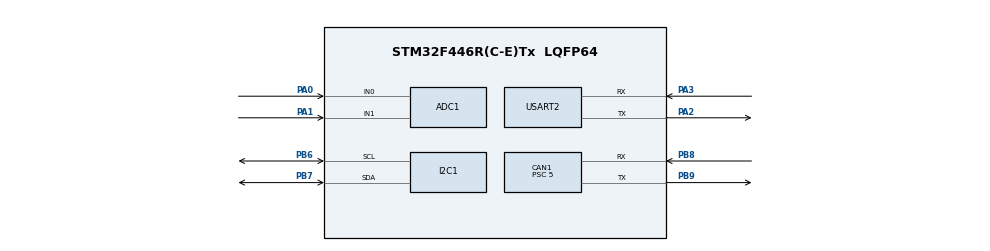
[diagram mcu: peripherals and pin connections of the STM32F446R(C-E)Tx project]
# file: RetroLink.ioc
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ADC1.Channel-0\#ChannelRegularConversion=ADC_CHANNEL_0
ADC1.NbrOfConversionFlag=1
ADC1.Rank-0\#ChannelRegularConversion=1
ADC1.SamplingTime-0\#ChannelRegularConversion=ADC_SAMPLETIME_3CYCLES
ADC1.master=1
CAN1.BS1=CAN_BS1_15TQ
CAN1.BS2=CAN_BS2_2TQ
CAN1.CalculateBaudRate=177777
CAN1.CalculateTimeBit=5625
CAN1.CalculateTimeQuantum=312.5
CAN1.Mode=CAN_MODE_LOOPBACK
CAN1.Prescaler=5
FREERTOS.Tasks01=sensorTask,32,128,StartSensorTask,Default,NULL,Dynamic,NULL,NULL;canTask,24,128,StartCanTask,Default,NULL,Dynamic,NULL,NULL;displayTask,16,128,StartDisplayTask,Default,NULL,Dynamic,NULL,NULL
Mcu.Family=STM32F4
Mcu.Name=STM32F446R(C-E)Tx
Mcu.Package=LQFP64
NVIC.CAN1_RX0_IRQn=true\:5\:0\:false\:false\:true\:true\:true\:true\:true
NVIC.PriorityGroup=NVIC_PRIORITYGROUP_4
PA0-WKUP.Signal=ADCx_IN0
PA1.Signal=ADCx_IN1
PA2.Mode=Asynchronous
PA2.Signal=USART2_TX
PA3.Mode=Asynchronous
PA3.Signal=USART2_RX
PB6.Mode=I2C
PB6.Signal=I2C1_SCL
PB7.Mode=I2C
PB7.Signal=I2C1_SDA
PB8.Mode=CAN_Activate
PB8.Signal=CAN1_RX
PB9.Mode=CAN_Activate
PB9.Signal=CAN1_TX
ProjectManager.HeapSize=0x200
ProjectManager.StackSize=0x400
ProjectManager.TargetToolchain=STM32CubeIDE
RCC.CortexFreq_Value=16000000
RCC.USBFreq_Value=96000000
RCC.VCOOutputFreq_Value=192000000
SH.ADCx_IN0.0=ADC1_IN0,IN0
SH.ADCx_IN1.0=ADC1_IN1,IN1
USART2.VirtualMode=VM_ASYNC
VP_FREERTOS_VS_CMSIS_V2.Mode=CMSIS_V2
board=custom

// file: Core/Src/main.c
/* USER CODE BEGIN Header */
/**
  ******************************************************************************
  * @file           : main.c
  * @brief          : Main program body
  ******************************************************************************
  * @attention
  *
  * Copyright (c) 2026 STMicroelectronics.
  * All rights reserved.
  *
  * This software is licensed under terms that can be found in the LICENSE file
  * in the root directory of this software component.
  * If no LICENSE file comes with this software, it is provided AS-IS.
  *
  ******************************************************************************
  */
/* USER CODE END Header */
#include "main.h"
#include "cmsis_os.h"

/* USER CODE BEGIN Includes */

#include <stdio.h>
#include <string.h>
#include "ssd1306.h"

/* USER CODE END Includes */

/* USER CODE BEGIN PD */

/*--- Voltage divider scaling (ADC mV → sensor-side mV) ---
 * Your signal conditioning circuit divides 5V sensor range down to
 * 3.3V ADC-safe range. To recover the original sensor voltage:
 *   sensor_mv = adc_mv * VDIV_NUM / VDIV_DEN
 *
 * Bench testing (pot wired direct to PA0/PA1): 1/1 = no scaling.
 * Vehicle (through 5V→3.3V divider):          50/33 ≈ 1.515x.
 */
#define VDIV_NUM  1
#define VDIV_DEN  1

/* TPS calibration points (sensor-side millivolts).
 * FSM spec: VTA = 0.1–1.0V closed, ~3.5V WOT.
 * For bench testing, set these to your pot's actual range.
 * For vehicle use, restore to 500 / 3500. */
#define TPS_MV_CLOSED      0
#define TPS_MV_WOT      2250

/* USER CODE END PD */

ADC_HandleTypeDef hadc1;

CAN_HandleTypeDef hcan1;

I2C_HandleTypeDef hi2c1;

UART_HandleTypeDef huart2;

/* Definitions for sensorTask */
osThreadId_t sensorTaskHandle;
const osThreadAttr_t sensorTask_attributes = {
  .name = "sensorTask",
  .stack_size = 128 * 4,
  .priority = (osPriority_t) osPriorityAboveNormal,
};
/* Definitions for canTask */
osThreadId_t canTaskHandle;
const osThreadAttr_t canTask_attributes = {
  .name = "canTask",
  .stack_size = 128 * 4,
  .priority = (osPriority_t) osPriorityNormal,
};
/* Definitions for displayTask */
osThreadId_t displayTaskHandle;
const osThreadAttr_t displayTask_attributes = {
  .name = "displayTask",
  .stack_size = 256 * 4,
  .priority = (osPriority_t) osPriorityBelowNormal,
};
/* USER CODE BEGIN PV */

volatile uint16_t adc_raw[2];		// Raw 12-bit ADC readings (0-4095)
volatile float sensor_voltage[2];	// Converted voltage (0-3.3V)

/* USER CODE END PV */

void SystemClock_Config(void);
static void MX_GPIO_Init(void);
static void MX_ADC1_Init(void);
static void MX_CAN1_Init(void);
static void MX_I2C1_Init(void);
static void MX_USART2_UART_Init(void);
void StartSensorTask(void *argument);
void StartCanTask(void *argument);
void StartDisplayTask(void *argument);

/* USER CODE BEGIN PFP */
static int16_t clt_voltage_to_celsius(int sensor_mv);
static int     tps_voltage_to_percent(int sensor_mv);
/* USER CODE END PFP */

/* USER CODE BEGIN 0 */

/*--- CLT lookup table: sensor-side millivolts → temperature °C ---
 * Data from 3VZ-E NTC thermistor specs (89422-20010) with ~2.2kΩ
 * pull-up to 5V reference. Voltage DECREASES as temp rises because
 * NTC resistance drops, pulling the divider output lower.
 *
 * The table is sorted by decreasing voltage (= increasing temp).
 * clt_voltage_to_celsius() walks the table and linearly interpolates
 * between the two nearest points.
 */
typedef struct {
    int16_t  temp_c;  /* temperature in °C */
    uint16_t mv;      /* sensor-side voltage in millivolts */
} CLT_Point;

static const CLT_Point clt_table[] = {
    { -20, 4400 },
    {   0, 3600 },
    {  20, 2700 },
    {  40, 1700 },
    {  60, 1000 },
    {  80,  600 },
    { 100,  500 },
    { 120,  300 },
};
#define CLT_TABLE_SIZE  (sizeof(clt_table) / sizeof(clt_table[0]))

/**
 * @brief  Convert sensor-side millivolts to coolant temperature in °C.
 *         Uses piecewise linear interpolation between table points.
 * @param  sensor_mv  Voltage at the CLT sensor pin (millivolts)
 * @retval Temperature in °C (clamped to table range: -20 to 120)
 */
static int16_t clt_voltage_to_celsius(int sensor_mv)
{
    /* Clamp to table endpoints */
    if (sensor_mv >= (int)clt_table[0].mv)
        return clt_table[0].temp_c;                       /* very cold */
    if (sensor_mv <= (int)clt_table[CLT_TABLE_SIZE - 1].mv)
        return clt_table[CLT_TABLE_SIZE - 1].temp_c;      /* very hot  */

    /* Walk the table — voltage decreases as index increases */
    for (int i = 0; i < (int)CLT_TABLE_SIZE - 1; i++) {
        if (sensor_mv <= (int)clt_table[i].mv &&
            sensor_mv >= (int)clt_table[i + 1].mv)
        {
            /* Linear interpolation:
             *   fraction = (upper_mv - sensor_mv) / (upper_mv - lower_mv)
             *   temp = upper_temp + fraction * (lower_temp - upper_temp)
             *
             * All integer math — multiply before divide to keep precision. */
            int dv = clt_table[i].mv - clt_table[i + 1].mv;     /* positive */
            int dt = clt_table[i + 1].temp_c - clt_table[i].temp_c; /* positive */
            int offset = clt_table[i].mv - sensor_mv;
            return clt_table[i].temp_c + (int16_t)((offset * dt) / dv);
        }
    }
    return -99; /* should never reach here */
}

/**
 * @brief  Convert sensor-side millivolts to throttle position 0–100%.
 *         Simple linear interpolation between closed and WOT voltages.
 * @param  sensor_mv  Voltage at the TPS VTA pin (millivolts)
 * @retval Throttle position percentage, clamped to 0–100
 */
static int tps_voltage_to_percent(int sensor_mv)
{
    if (sensor_mv <= TPS_MV_CLOSED) return 0;
    if (sensor_mv >= TPS_MV_WOT)   return 100;
    return ((sensor_mv - TPS_MV_CLOSED) * 100) / (TPS_MV_WOT - TPS_MV_CLOSED);
}

/* USER CODE END 0 */

int main(void)
{

  /* MCU Configuration--------------------------------------------------------*/

  /* Reset of all peripherals, Initializes the Flash interface and the Systick. */
  HAL_Init();

  /* Configure the system clock */
  SystemClock_Config();

  /* Initialize all configured peripherals */
  MX_GPIO_Init();
  MX_ADC1_Init();
  MX_CAN1_Init();
  MX_I2C1_Init();
  MX_USART2_UART_Init();
  /* USER CODE BEGIN 2 */

  // Pull-up on CAN_RX (PB8) so the peripheral sees recessive (high)
  // during the init-to-normal transition
  GPIO_InitTypeDef canrx_fix = {0};
  canrx_fix.Pin = GPIO_PIN_8;
  canrx_fix.Mode = GPIO_MODE_AF_PP;
  canrx_fix.Pull = GPIO_PULLUP;
  canrx_fix.Speed = GPIO_SPEED_FREQ_VERY_HIGH;
  canrx_fix.Alternate = GPIO_AF9_CAN1;
  HAL_GPIO_Init(GPIOB, &canrx_fix);

  CAN_FilterTypeDef filter;
  filter.FilterBank = 0;
  filter.FilterMode = CAN_FILTERMODE_IDMASK;
  filter.FilterScale = CAN_FILTERSCALE_32BIT;
  filter.FilterIdHigh = 0x0000;
  filter.FilterIdLow = 0x0000;
  filter.FilterMaskIdHigh = 0x0000;
  filter.FilterMaskIdLow = 0x0000;
  filter.FilterFIFOAssignment = CAN_RX_FIFO0;
  filter.FilterActivation = ENABLE;
  HAL_CAN_ConfigFilter(&hcan1, &filter);

  HAL_CAN_Start(&hcan1);
  HAL_CAN_ActivateNotification(&hcan1, CAN_IT_RX_FIFO0_MSG_PENDING);

  /* USER CODE END 2 */

  /* Init scheduler */
  osKernelInitialize();

  /* Create the thread(s) */
  /* creation of sensorTask */
  sensorTaskHandle = osThreadNew(StartSensorTask, NULL, &sensorTask_attributes);

  /* creation of canTask */
  canTaskHandle = osThreadNew(StartCanTask, NULL, &canTask_attributes);

  /* creation of displayTask */
  displayTaskHandle = osThreadNew(StartDisplayTask, NULL, &displayTask_attributes);

  /* Start scheduler */
  osKernelStart();

  /* We should never get here as control is now taken by the scheduler */

  /* Infinite loop */
  while (1)
  {

  }
}

void SystemClock_Config(void)
{
  RCC_OscInitTypeDef RCC_OscInitStruct = {0};
  RCC_ClkInitTypeDef RCC_ClkInitStruct = {0};

  /** Configure the main internal regulator output voltage
  */
  __HAL_RCC_PWR_CLK_ENABLE();
  __HAL_PWR_VOLTAGESCALING_CONFIG(PWR_REGULATOR_VOLTAGE_SCALE3);

  /** Initializes the RCC Oscillators according to the specified parameters
  * in the RCC_OscInitTypeDef structure.
  */
  RCC_OscInitStruct.OscillatorType = RCC_OSCILLATORTYPE_HSI;
  RCC_OscInitStruct.HSIState = RCC_HSI_ON;
  RCC_OscInitStruct.HSICalibrationValue = RCC_HSICALIBRATION_DEFAULT;
  RCC_OscInitStruct.PLL.PLLState = RCC_PLL_NONE;
  if (HAL_RCC_OscConfig(&RCC_OscInitStruct) != HAL_OK)
  {
    Error_Handler();
  }

  /** Initializes the CPU, AHB and APB buses clocks
  */
  RCC_ClkInitStruct.ClockType = RCC_CLOCKTYPE_HCLK|RCC_CLOCKTYPE_SYSCLK
                              |RCC_CLOCKTYPE_PCLK1|RCC_CLOCKTYPE_PCLK2;
  RCC_ClkInitStruct.SYSCLKSource = RCC_SYSCLKSOURCE_HSI;
  RCC_ClkInitStruct.AHBCLKDivider = RCC_SYSCLK_DIV1;
  RCC_ClkInitStruct.APB1CLKDivider = RCC_HCLK_DIV1;
  RCC_ClkInitStruct.APB2CLKDivider = RCC_HCLK_DIV1;

  if (HAL_RCC_ClockConfig(&RCC_ClkInitStruct, FLASH_LATENCY_0) != HAL_OK)
  {
    Error_Handler();
  }
}

static void MX_ADC1_Init(void)
{

  ADC_ChannelConfTypeDef sConfig = {0};

  /** Configure the global features of the ADC (Clock, Resolution, Data Alignment and number of conversion)
  */
  hadc1.Instance = ADC1;
  hadc1.Init.ClockPrescaler = ADC_CLOCK_SYNC_PCLK_DIV2;
  hadc1.Init.Resolution = ADC_RESOLUTION_12B;
  hadc1.Init.ScanConvMode = DISABLE;
  hadc1.Init.ContinuousConvMode = DISABLE;
  hadc1.Init.DiscontinuousConvMode = DISABLE;
  hadc1.Init.ExternalTrigConvEdge = ADC_EXTERNALTRIGCONVEDGE_NONE;
  hadc1.Init.ExternalTrigConv = ADC_SOFTWARE_START;
  hadc1.Init.DataAlign = ADC_DATAALIGN_RIGHT;
  hadc1.Init.NbrOfConversion = 1;
  hadc1.Init.DMAContinuousRequests = DISABLE;
  hadc1.Init.EOCSelection = ADC_EOC_SINGLE_CONV;
  if (HAL_ADC_Init(&hadc1) != HAL_OK)
  {
    Error_Handler();
  }

  /** Configure for the selected ADC regular channel its corresponding rank in the sequencer and its sample time.
  */
  sConfig.Channel = ADC_CHANNEL_0;
  sConfig.Rank = 1;
  sConfig.SamplingTime = ADC_SAMPLETIME_3CYCLES;
  if (HAL_ADC_ConfigChannel(&hadc1, &sConfig) != HAL_OK)
  {
    Error_Handler();
  }

}

static void MX_CAN1_Init(void)
{

  hcan1.Instance = CAN1;
  hcan1.Init.Prescaler = 2;
  hcan1.Init.Mode = CAN_MODE_NORMAL;
  hcan1.Init.SyncJumpWidth = CAN_SJW_1TQ;
  hcan1.Init.TimeSeg1 = CAN_BS1_13TQ;
  hcan1.Init.TimeSeg2 = CAN_BS2_2TQ;
  hcan1.Init.TimeTriggeredMode = DISABLE;
  hcan1.Init.AutoBusOff = DISABLE;
  hcan1.Init.AutoWakeUp = DISABLE;
  hcan1.Init.AutoRetransmission = DISABLE;
  hcan1.Init.ReceiveFifoLocked = DISABLE;
  hcan1.Init.TransmitFifoPriority = DISABLE;
  if (HAL_CAN_Init(&hcan1) != HAL_OK)
  {
    Error_Handler();
  }

}

static void MX_I2C1_Init(void)
{

  hi2c1.Instance = I2C1;
  hi2c1.Init.ClockSpeed = 100000;
  hi2c1.Init.DutyCycle = I2C_DUTYCYCLE_2;
  hi2c1.Init.OwnAddress1 = 0;
  hi2c1.Init.AddressingMode = I2C_ADDRESSINGMODE_7BIT;
  hi2c1.Init.DualAddressMode = I2C_DUALADDRESS_DISABLE;
  hi2c1.Init.OwnAddress2 = 0;
  hi2c1.Init.GeneralCallMode = I2C_GENERALCALL_DISABLE;
  hi2c1.Init.NoStretchMode = I2C_NOSTRETCH_DISABLE;
  if (HAL_I2C_Init(&hi2c1) != HAL_OK)
  {
    Error_Handler();
  }

}

static void MX_USART2_UART_Init(void)
{

  huart2.Instance = USART2;
  huart2.Init.BaudRate = 115200;
  huart2.Init.WordLength = UART_WORDLENGTH_8B;
  huart2.Init.StopBits = UART_STOPBITS_1;
  huart2.Init.Parity = UART_PARITY_NONE;
  huart2.Init.Mode = UART_MODE_TX_RX;
  huart2.Init.HwFlowCtl = UART_HWCONTROL_NONE;
  huart2.Init.OverSampling = UART_OVERSAMPLING_16;
  if (HAL_UART_Init(&huart2) != HAL_OK)
  {
    Error_Handler();
  }

}

static void MX_GPIO_Init(void)
{

  /* GPIO Ports Clock Enable */
  __HAL_RCC_GPIOA_CLK_ENABLE();
  __HAL_RCC_GPIOB_CLK_ENABLE();

  /* USER CODE BEGIN MX_GPIO_Init_2 */

  GPIO_InitTypeDef GPIO_InitStruct = {0};
  GPIO_InitStruct.Pin = GPIO_PIN_5;
  GPIO_InitStruct.Mode = GPIO_MODE_OUTPUT_PP;
  GPIO_InitStruct.Pull = GPIO_NOPULL;
  GPIO_InitStruct.Speed = GPIO_SPEED_FREQ_LOW;
  HAL_GPIO_Init(GPIOA, &GPIO_InitStruct);

  /* USER CODE END MX_GPIO_Init_2 */
}

/* USER CODE BEGIN 4 */

void HAL_CAN_RxFifo0MsgPendingCallback(CAN_HandleTypeDef *hcan)
{
  CAN_RxHeaderTypeDef rx_header;
  uint8_t rx_data[8];
  HAL_CAN_GetRxMessage(hcan, CAN_RX_FIFO0, &rx_header, rx_data);
  if (rx_header.StdId == 0x100)
  {
    HAL_GPIO_TogglePin(GPIOA, GPIO_PIN_5);
  }
}

/* USER CODE END 4 */

/* USER CODE BEGIN Header_StartSensorTask */
/**
  * @brief  Function implementing the sensorTask thread.
  * 		Starts the ADC, waits for the conversion to finish,
  * 		reads the 12-bit result (0-4095), converts to voltage
  * 		([raw / 4095] * 3.3V), then repeats for second channel.
  * 		Has a 10 Hz sample rate.
  * @param  argument: Not used
  * @retval None
  */
/* USER CODE END Header_StartSensorTask */
void StartSensorTask(void *argument)
{
  /* USER CODE BEGIN 5 */
	/* The ADC has a multiplexer (mux) that selects which pin to read.
	 * HAL_ADC_Start() does NOT change the selected channel — only
	 * HAL_ADC_ConfigChannel() does. So we must call ConfigChannel
	 * before each conversion to switch between PA0 and PA1. */
	ADC_ChannelConfTypeDef sConfig = {0};
	sConfig.Rank = 1;
	sConfig.SamplingTime = ADC_SAMPLETIME_3CYCLES;

	for(;;) {
	  // Select Channel 0 (PA0) - coolant temperature sensor
	  sConfig.Channel = ADC_CHANNEL_0;
	  HAL_ADC_ConfigChannel(&hadc1, &sConfig);
	  HAL_ADC_Start(&hadc1);
	  if (HAL_ADC_PollForConversion(&hadc1, 10) == HAL_OK) {
		  adc_raw[0] = HAL_ADC_GetValue(&hadc1);
		  sensor_voltage[0] = (float)adc_raw[0] * 3.3f / 4095.0f;
	  }
	  HAL_ADC_Stop(&hadc1);

	  // Select Channel 1 (PA1) - TPS
	  sConfig.Channel = ADC_CHANNEL_1;
	  HAL_ADC_ConfigChannel(&hadc1, &sConfig);
	  HAL_ADC_Start(&hadc1);
	  if (HAL_ADC_PollForConversion(&hadc1, 10) == HAL_OK) {
		  adc_raw[1] = HAL_ADC_GetValue(&hadc1);
		  sensor_voltage[1] = (float)adc_raw[1] * 3.3f / 4095.0f;
	  }
	  HAL_ADC_Stop(&hadc1);

	  osDelay(100);
	}
  /* USER CODE END 5 */
}

/* USER CODE BEGIN Header_StartCanTask */
/**
* @brief Function implementing the canTask thread.
* 		 Sets up a CAN transmit header with message ID 0x100
* 		 - StdId: an 11-bit identifier that tells receivers
* 		   "this frame contains sensor data"
* 		 - DLC: Data Length Code = 4 bytes, 2 per sensor
* 		 - RTR: DATA frame (not a Remote request)
* 		 Packs the two raw ADC values into the data payload
* 		 - Each value is 12-bit (0-4095), which fits in 2 bytes
* 		 - High byte first, then low byte (big-endian)
* 		 Sends the frame on the CAN bus
* 		 Has a 5 Hz transmit rate
* @param argument: Not used
* @retval None
*/
/* USER CODE END Header_StartCanTask */
void StartCanTask(void *argument)
{
  /* USER CODE BEGIN StartCanTask */

	CAN_TxHeaderTypeDef tx_header;
	uint8_t tx_data[8];
	uint32_t tx_mailbox;

	// COnfigure the CAN frame header
	tx_header.StdId = 0x100;					// Arbitration ID
	tx_header.ExtId = 0;						// Not using extended ID
	tx_header.RTR = CAN_RTR_DATA;				// Data frame, not remote request
	tx_header.IDE = CAN_ID_STD;				// Standard 11-bit ID
	tx_header.DLC = 4;						// 4 bytes of data
	tx_header.TransmitGlobalTime = DISABLE;

	for (;;) {
	  // Pack sensor 0 into bytes 0-1 (big-endian)
	  tx_data[0] = (adc_raw[0] >> 8) & 0xFF;
	  tx_data[1] = adc_raw[0] & 0xFF;

	  // Pack sensor 1 inot bytes 2-3 (big-endian)
	  tx_data[2] = (adc_raw[1] >> 8) & 0xFF;
	  tx_data[3] = adc_raw[1] & 0xFF;

	  // Transmit - HAL puts it in the next available mailbox
	  HAL_CAN_AddTxMessage(&hcan1, &tx_header, tx_data, &tx_mailbox);

	  osDelay(200);
	}
  /* USER CODE END StartCanTask */
}

void StartDisplayTask(void *argument)
{
  /* USER CODE BEGIN StartDisplayTask */
	char buf[32];

	/* Initialize the OLED — sends the startup command sequence
	 * and clears the screen. Must happen once before drawing. */
	ssd1306_Init(&hi2c1);

	for(;;) {
		/* Convert raw ADC counts to millivolts, then scale
		 * through the voltage divider to get sensor-side mV. */
		int adc_mv0 = (adc_raw[0] * 3300) / 4095;
		int adc_mv1 = (adc_raw[1] * 3300) / 4095;
		int sen_mv0 = (adc_mv0 * VDIV_NUM) / VDIV_DEN;
		int sen_mv1 = (adc_mv1 * VDIV_NUM) / VDIV_DEN;

		/* Run the conversions */
		int16_t clt_c   = clt_voltage_to_celsius(sen_mv0);
		int     tps_pct = tps_voltage_to_percent(sen_mv1);

		/* Clear the framebuffer, then draw fresh content */
		ssd1306_Fill(SSD1306_COLOR_BLACK);

		/* Title bar */
		ssd1306_SetCursor(0, 0);
		ssd1306_WriteString("RetroLink", Font_11x18, SSD1306_COLOR_WHITE);

		/* Divider line under the title */
		ssd1306_DrawHLine(0, 20, 128, SSD1306_COLOR_WHITE);

		/* Sensor 0 — coolant temp: engineering unit + raw voltage */
		sprintf(buf, "CLT: %d C", (int)clt_c);
		ssd1306_SetCursor(0, 24);
		ssd1306_WriteString(buf, Font_7x10, SSD1306_COLOR_WHITE);

		sprintf(buf, "%d.%02dV", adc_mv0/1000, (adc_mv0%1000)/10);
		ssd1306_SetCursor(84, 24);
		ssd1306_WriteString(buf, Font_7x10, SSD1306_COLOR_WHITE);

		/* Sensor 1 — throttle position: engineering unit + raw voltage */
		sprintf(buf, "TPS: %d%%", tps_pct);
		ssd1306_SetCursor(0, 38);
		ssd1306_WriteString(buf, Font_7x10, SSD1306_COLOR_WHITE);

		sprintf(buf, "%d.%02dV", adc_mv1/1000, (adc_mv1%1000)/10);
		ssd1306_SetCursor(84, 38);
		ssd1306_WriteString(buf, Font_7x10, SSD1306_COLOR_WHITE);

		/* Push the framebuffer to the display */
		ssd1306_UpdateScreen();

		/* UART: engineering units + raw voltage for debugging */
		int len = sprintf(buf, "CLT:%dC(%dmV) TPS:%d%%(%dmV)\r\n",
		                  (int)clt_c, adc_mv0, tps_pct, adc_mv1);
		HAL_UART_Transmit(&huart2, (uint8_t *)buf, len, 100);

		osDelay(500);
	}
  /* USER CODE END StartDisplayTask */
}

void Error_Handler(void)
{
  __disable_irq();
  while (1)
  {
  }
}
